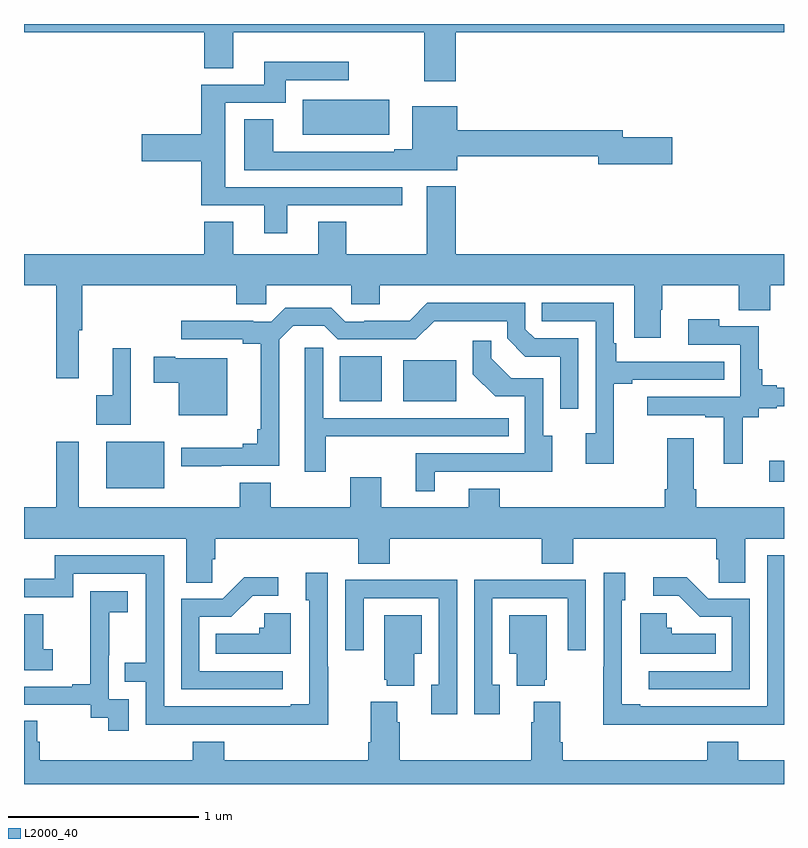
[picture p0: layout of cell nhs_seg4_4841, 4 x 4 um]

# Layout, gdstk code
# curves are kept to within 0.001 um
import gdstk
lib = gdstk.Library(unit=1e-6, precision=1e-09)
def R(c, l, rs):  # rectangles x0, y0, x1, y1
    for r in rs: c.add(gdstk.rectangle(r[:2], r[2:], *l))
def P(c, l, *ps):  # polygons
    for p in ps: c.add(gdstk.Polygon(p, *l))
L2000_40 = (2000, 40)

nhs_seg4_4841 = lib.new_cell('nhs_seg4_4841')
R(nhs_seg4_4841, L2000_40, [(373.433,758.456,373.738,758.701), (376.923,758.492,377,758.602), (374.663,758.915,374.884,759.151), (374.996,758.915,375.274,759.13)])
P(nhs_seg4_4841, L2000_40, [(373,760.856),(373.949,760.856),(373.949,760.666),(374.101,760.666),(374.101,760.856),(375.107,760.856),(375.107,760.599),(375.272,760.599),(375.272,760.856),(377,760.856),(377,760.9),(373,760.9)],
  [(374.386,759.945),(374.992,759.945),(374.992,760.041),(374.059,760.041),(374.059,760.485),(374.377,760.485),(374.377,760.605),(374.71,760.605),(374.71,760.702),(374.264,760.702),(374.264,760.581),(373.934,760.581),(373.934,760.319),(373.62,760.319),(373.62,760.177),(373.934,760.177),(373.934,759.945),(374.264,759.945),(374.264,759.798),(374.386,759.798)],
  [(374.819,760.317),(374.922,760.317),(374.922,760.501),(374.468,760.501),(374.468,760.316),(374.819,760.316)],
  [(375.28,760.204),(376.022,760.204),(376.022,760.162),(376.411,760.162),(376.411,760.304),(376.15,760.304),(376.15,760.34),(375.28,760.34),(375.28,760.468),(375.044,760.468),(375.044,760.241),(374.948,760.241),(374.948,760.227),(374.311,760.227),(374.311,760.399),(374.159,760.399),(374.159,760.131),(375.28,760.131)],
  [(374.723,759.426),(374.872,759.426),(374.872,759.524),(376.211,759.524),(376.211,759.249),(376.351,759.249),(376.351,759.395),(376.359,759.395),(376.359,759.524),(376.763,759.524),(376.763,759.394),(376.927,759.394),(376.927,759.524),(377,759.524),(377,759.688),(375.272,759.688),(375.272,760.045),(375.119,760.045),(375.119,759.688),(374.697,759.688),(374.697,759.86),(374.549,759.86),(374.549,759.688),(374.101,759.688),(374.101,759.86),(373.949,759.86),(373.949,759.688),(373,759.688),(373,759.524),(373.171,759.524),(373.171,759.036),(373.289,759.036),(373.289,759.288),(373.307,759.288),(373.307,759.524),(374.117,759.524),(374.117,759.426),(374.276,759.426),(374.276,759.524),(374.723,759.524)],
  [(376.105,759.007),(376.201,759.007),(376.201,759.027),(376.685,759.027),(376.685,759.123),(376.117,759.123),(376.117,759.22),(376.104,759.22),(376.104,759.432),(375.724,759.432),(375.724,759.336),(376.008,759.336),(376.008,758.747),(375.957,758.747),(375.957,758.586),(376.105,758.586)],
  [(374.039,758.574),(374.344,758.574),(374.344,759.238),(374.417,759.311),(374.581,759.311),(374.652,759.24),(375.063,759.24),(375.158,759.335),(375.543,759.336),(375.543,759.246),(375.639,759.15),(375.822,759.15),(375.822,758.874),(375.918,758.874),(375.918,759.246),(375.687,759.246),(375.639,759.294),(375.639,759.432),(375.123,759.432),(375.029,759.338),(374.791,759.338),(374.791,759.333),(374.691,759.333),(374.618,759.406),(374.374,759.406),(374.301,759.333),(374.207,759.333),(374.207,759.338),(373.827,759.338),(373.827,759.24),(374.15,759.24),(374.15,759.218),(374.246,759.218),(374.246,758.767),(374.227,758.767),(374.227,758.69),(374.15,758.69),(374.15,758.671),(373.827,758.671),(373.827,758.573)],
  [(376.784,758.829),(376.866,758.829),(376.866,758.877),(376.963,758.877),(376.963,758.889),(377,758.889),(377,758.985),(376.963,758.985),(376.963,758.998),(376.886,758.998),(376.886,759.082),(376.868,759.082),(376.868,759.309),(376.658,759.309),(376.658,759.346),(376.497,759.346),(376.497,759.213),(376.77,759.213),(376.77,758.937),(376.281,758.937),(376.281,758.841),(376.586,758.841),(376.586,758.829),(376.682,758.829),(376.682,758.586),(376.784,758.586)],
  [(375.161,758.544),(375.781,758.544),(375.781,758.734),(375.732,758.734),(375.732,759.036),(375.565,759.036),(375.459,759.142),(375.459,759.233),(375.363,759.233),(375.363,759.056),(375.479,758.94),(375.636,758.94),(375.636,758.64),(375.062,758.64),(375.062,758.442),(375.161,758.442)],
  [(374.587,758.729),(374.966,758.729),(374.966,758.73),(375.551,758.73),(375.551,758.826),(374.574,758.826),(374.574,759.196),(374.477,759.196),(374.477,758.544),(374.587,758.544)],
  [(373.563,759.193),(373.466,759.193),(373.466,758.945),(373.38,758.945),(373.38,758.792),(373.563,758.792)],
  [(374.071,759.142),(373.795,759.142),(373.795,759.15),(373.683,759.15),(373.683,759.013),(373.814,759.013),(373.814,758.84),(374.071,758.84)],
  [(373.992,758.083),(374.006,758.083),(374.006,758.192),(374.759,758.192),(374.759,758.059),(374.924,758.059),(374.924,758.192),(375.725,758.192),(375.725,758.059),(375.89,758.059),(375.89,758.192),(376.643,758.192),(376.643,758.083),(376.656,758.083),(376.656,757.96),(376.795,757.96),(376.795,758.192),(377,758.192),(377,758.356),(376.538,758.356),(376.538,758.452),(376.525,758.452),(376.525,758.719),(376.385,758.719),(376.385,758.452),(376.373,758.452),(376.373,758.356),(375.505,758.356),(375.505,758.455),(375.341,758.455),(375.341,758.356),(374.881,758.356),(374.881,758.515),(374.717,758.515),(374.717,758.356),(374.299,758.356),(374.299,758.485),(374.135,758.485),(374.135,758.356),(373.288,758.356),(373.288,758.701),(373.171,758.701),(373.171,758.356),(373,758.356),(373,758.192),(373.853,758.192),(373.853,757.96),(373.992,757.96)],
  [(374.601,757.517),(374.598,757.517),(374.598,758.011),(374.483,758.011),(374.483,757.866),(374.502,757.866),(374.502,757.321),(374.405,757.321),(374.405,757.308),(373.737,757.308),(373.737,758.103),(373.163,758.103),(373.163,757.98),(373,757.98),(373,757.884),(373.26,757.884),(373.26,758.007),(373.641,758.007),(373.641,757.538),(373.531,757.538),(373.531,757.437),(373.641,757.437),(373.641,757.212),(374.137,757.212),(374.137,757.211),(374.601,757.211)],
  [(376.511,757.212),(377,757.212),(377,758.103),(376.911,758.103),(376.911,757.308),(376.243,757.308),(376.243,757.321),(376.146,757.321),(376.146,757.866),(376.165,757.866),(376.165,758.011),(376.05,758.011),(376.05,757.517),(376.048,757.517),(376.048,757.211),(376.511,757.211)],
  [(376.821,757.875),(376.602,757.875),(376.489,757.988),(376.311,757.988),(376.311,757.89),(376.445,757.89),(376.556,757.779),(376.725,757.779),(376.725,757.494),(376.287,757.494),(376.287,757.398),(376.821,757.398)],
  [(374.362,757.494),(373.923,757.494),(373.923,757.779),(374.092,757.779),(374.203,757.89),(374.338,757.89),(374.338,757.988),(374.159,757.988),(374.046,757.875),(373.827,757.875),(373.827,757.398),(374.362,757.398)],
  [(375.505,757.422),(375.465,757.422),(375.465,757.878),(375.861,757.878),(375.861,757.605),(375.957,757.605),(375.957,757.974),(375.641,757.974),(375.641,757.976),(375.369,757.976),(375.369,757.266),(375.505,757.266)],
  [(375.279,757.976),(375.007,757.976),(375.007,757.974),(374.691,757.974),(374.691,757.605),(374.787,757.605),(374.787,757.878),(375.183,757.878),(375.183,757.422),(375.143,757.422),(375.143,757.266),(375.279,757.266)],
  [(373.551,757.347),(373.446,757.347),(373.446,757.577),(373.448,757.577),(373.448,757.805),(373.546,757.805),(373.546,757.915),(373.348,757.915),(373.348,757.709),(373.349,757.709),(373.349,757.426),(373.253,757.426),(373.253,757.413),(373,757.413),(373,757.317),(373.35,757.317),(373.35,757.249),(373.443,757.249),(373.443,757.179),(373.551,757.179)],
  [(376.64,757.69),(376.41,757.69),(376.41,757.722),(376.383,757.722),(376.383,757.798),(376.244,757.798),(376.244,757.586),(376.64,757.586)],
  [(374.404,757.798),(374.265,757.798),(374.265,757.722),(374.239,757.722),(374.239,757.69),(374.008,757.69),(374.008,757.586),(374.404,757.586)],
  [(373.15,757.609),(373.101,757.609),(373.101,757.794),(373,757.794),(373,757.698),(373.002,757.698),(373.002,757.5),(373.15,757.5)],
  [(375.055,757.586),(375.094,757.586),(375.094,757.789),(374.897,757.789),(374.897,757.449),(374.909,757.449),(374.909,757.418),(375.055,757.418)],
  [(375.74,757.449),(375.751,757.449),(375.751,757.789),(375.554,757.789),(375.554,757.586),(375.593,757.586),(375.593,757.418),(375.74,757.418)],
  [(377,757.024),(376.76,757.024),(376.76,757.123),(376.595,757.123),(376.595,757.024),(375.836,757.024),(375.836,757.12),(375.823,757.12),(375.823,757.333),(375.683,757.333),(375.683,757.226),(375.671,757.226),(375.671,757.024),(374.978,757.024),(374.978,757.226),(374.965,757.226),(374.965,757.333),(374.825,757.333),(374.825,757.12),(374.813,757.12),(374.813,757.024),(374.054,757.024),(374.054,757.123),(373.889,757.123),(373.889,757.024),(373.082,757.024),(373.082,757.122),(373.069,757.122),(373.069,757.232),(373,757.232),(373,756.9),(377,756.9)])

lib.write_gds('nhs_seg4_4841.gds')
